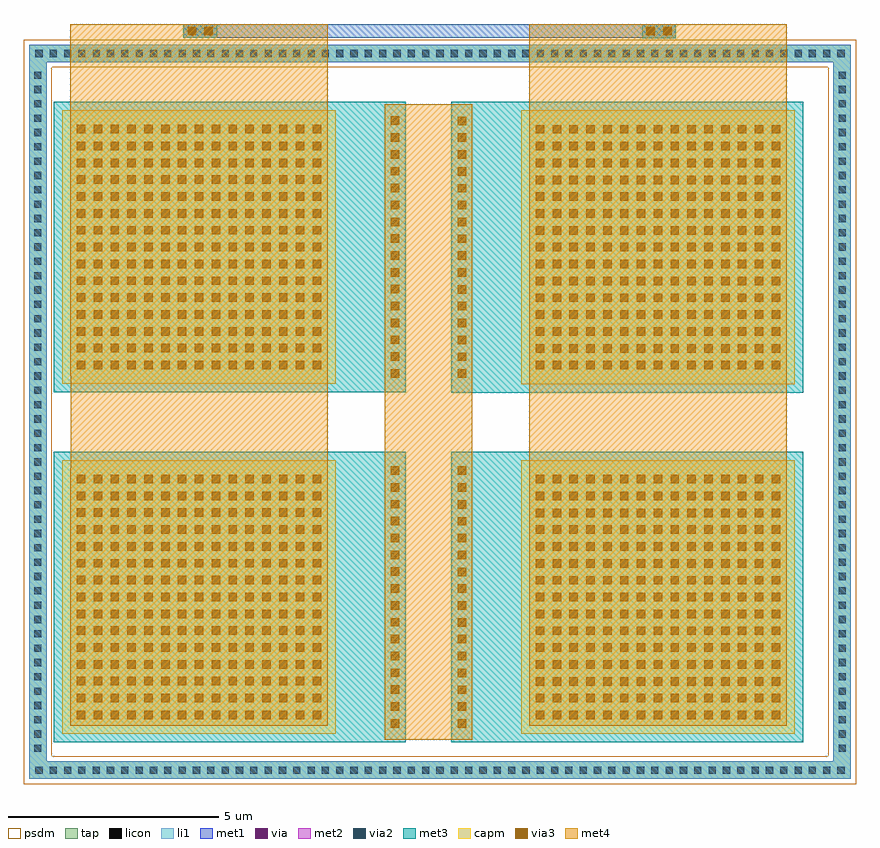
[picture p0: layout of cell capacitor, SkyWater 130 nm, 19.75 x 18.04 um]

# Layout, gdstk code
from math import pi, radians
import gdstk
lib = gdstk.Library(unit=1e-6, precision=1e-09)
def R(c, l, rs):  # rectangles x0, y0, x1, y1
    for r in rs: c.add(gdstk.rectangle(r[:2], r[2:], *l))
def A(c, l, x, y, w, h, nx, ny, dx, dy):  # array of equal rectangles
    R(c, l, [(x+i*dx, y+j*dy, x+i*dx+w, y+j*dy+h) for i in range(nx) for j in range(ny)])
tap = (65, 44)
licon = (66, 44)
li1 = (67, 20)
met1 = (68, 20)
via = (68, 44)
met2 = (69, 20)
via2 = (69, 44)
met3 = (70, 20)
via3 = (70, 44)
met4 = (71, 20)
capm = (89, 44)
psdm = (94, 20)

vias_gen_24 = lib.new_cell('vias_gen$24')
R(vias_gen_24, tap, [(0,0,0.41,19.5)])
A(vias_gen_24, licon, 0.12, 0.145, 0.17, 0.17, 1, 57, 0, 0.34)
R(vias_gen_24, li1, [(0,0,0.41,19.5)])
R(vias_gen_24, psdm, [(-0.125,-0.125,0.535,19.625)])

vias_gen_26 = lib.new_cell('vias_gen$26')
R(vias_gen_26, tap, [(0,0,0.41,16.6)])
A(vias_gen_26, licon, 0.12, 0.225, 0.17, 0.17, 1, 48, 0, 0.34)
R(vias_gen_26, li1, [(0,0,0.41,16.6)])
R(vias_gen_26, psdm, [(-0.125,-0.125,0.535,16.725)])

vias_gen_22 = lib.new_cell('vias_gen$22')
R(vias_gen_22, met1, [(0,0,0.8,0.33)])
R(vias_gen_22, via, [(0.165,0.09,0.315,0.24), (0.485,0.09,0.635,0.24)])
R(vias_gen_22, met2, [(0,0,0.8,0.33)])
R(vias_gen_22, via2, [(0.1,0.065,0.3,0.265), (0.5,0.065,0.7,0.265)])
R(vias_gen_22, met3, [(0,0,0.8,0.33)])
R(vias_gen_22, via3, [(0.1,0.065,0.3,0.265), (0.5,0.065,0.7,0.265)])
R(vias_gen_22, met4, [(0,0,0.8,0.33)])

mim_cap = lib.new_cell('mim_cap')
R(mim_cap, met3, [(-0.2,-0.2,8.16,6.7)])
A(mim_cap, via3, 7.8, 0.15, 0.2, 0.2, 1, 16, 0, 0.4)
A(mim_cap, via3, 0.35, 0.35, 0.2, 0.2, 15, 15, 0.4, 0.4)
R(mim_cap, met4, [(7.66,-0.14,8.14,6.64), (0.195,0.195,6.305,6.305)])
R(mim_cap, capm, [(0,0,6.5,6.5)])

capacitor = lib.new_cell('capacitor')
R(capacitor, met1, [(-3.915,16.985,7.78,17.315)])
R(capacitor, met4, [(0.873,0.325,2.943,15.41), (4.3,6.767,10.41,8.962), (-6.588,6.77,-0.483,8.965), (4.298,15.072,10.408,17.31), (-6.595,15.075,-0.485,17.313)])
capacitor.add(gdstk.Reference(vias_gen_24, (11.93,-0.6), rotation=pi/2))
capacitor.add(gdstk.Reference(vias_gen_26, (-7.57,-0.19)))
capacitor.add(gdstk.Reference(vias_gen_24, (11.93,16.41), rotation=pi/2))
capacitor.add(gdstk.Reference(vias_gen_22, (7.78,17.31), rotation=pi))
capacitor.add(gdstk.Reference(vias_gen_22, (-3.113,17.313), rotation=pi))
capacitor.add(gdstk.Reference(mim_cap, (10.603,8.767), rotation=pi, x_reflection=True))
capacitor.add(gdstk.Reference(mim_cap, (10.603,0.462), rotation=pi, x_reflection=True))
capacitor.add(gdstk.Reference(mim_cap, (-6.79,0.465)))
capacitor.add(gdstk.Reference(mim_cap, (-6.79,8.77)))
capacitor.add(gdstk.Reference(vias_gen_26, (11.52,-0.19)))

lib.write_gds('capacitor.gds')
